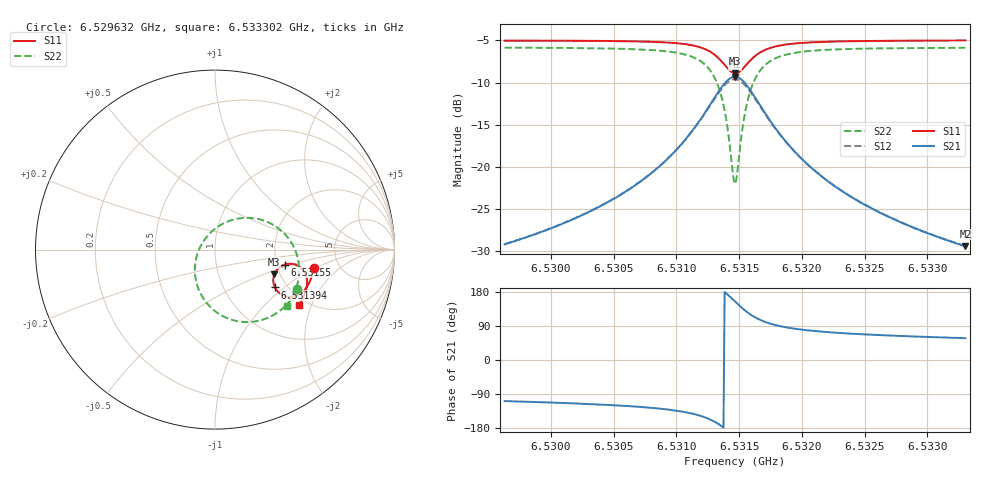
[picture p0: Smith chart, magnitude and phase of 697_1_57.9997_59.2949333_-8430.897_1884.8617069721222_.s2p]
#  HZ  S  RI  R  50.00
! Rohde & Schwarz Vector Network Analyzer
! Rohde-Schwarz,ZNB20-2Port,1311601062101988,3.16
! Created: UTC 3/21/2024, 1:21:36 AM
! freq[Hz]  re:S11  im:S11  re:S21  im:S21  re:S12  im:S12  re:S22  im:S22
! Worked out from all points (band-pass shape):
!   401 points, 6.529632 GHz to 6.533302 GHz, reference 50 ohm
!   highest |S21| = -9.32 dB at 6.531467 GHz (marker M1); lowest = -29.4 dB at 6.533302 GHz (marker M2)
!   |S21| within 3 dB of the highest: 6.531282 GHz to 6.53165 GHz (368.3 kHz wide, 0.00564 % of centre)
!   lowest |S11| = -8.9 dB at 6.531467 GHz (marker M3), VSWR 2.12, Z = 93.3 - j29.6 ohm
!   |S11| at or under -10 dB: nowhere
!   |S22| runs from -22.0 to -5.9 dB; largest |S21 - S12| = 0.015
!   S11 on the Smith chart (normalised r, x): 6.529632 GHz: 3.23, -0.97; 6.531394 GHz: 1.73, -0.86; 6.53155 GHz: 2.21, -0.44; 6.533302 GHz: 1.82, -1.64
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6.5296318e9  0.5507 -0.1028  -0.011 -0.0329  -0.0116 -0.0328  0.458 -0.2219
6.5302466e9  0.537 -0.1547  -0.0222 -0.0466  -0.0234 -0.0461  0.421 -0.2803
6.5305586e9  0.5249 -0.1846  -0.0346 -0.059  -0.0364 -0.0583  0.3878 -0.3177
6.5308614e9  0.5042 -0.2187  -0.0617 -0.0788  -0.0642 -0.077  0.327 -0.364
6.5310724e9  0.4733 -0.247  -0.1076 -0.0979  -0.1105 -0.0938  0.2355 -0.3983
6.5312376e9  0.42 -0.2633  -0.191 -0.099  -0.1927 -0.0904  0.0847 -0.3883
6.5313294e9  0.3692 -0.2494  -0.2684 -0.0584  -0.2656 -0.0466  -0.0408 -0.3039
6.5313661e9  0.3475 -0.2312  -0.2999 -0.0207  -0.2934 -0.00893  -0.0859 -0.2344
6.5313936e9  0.3341 -0.2109  -0.3176 0.0181  -0.3083 0.0287  -0.1073 -0.1667
6.5314486e9  0.3257 -0.1573  -0.3205 0.1146  -0.3071 0.1196  -0.0927 -0.00826
6.531467e9  0.3307 -0.1384  -0.3086 0.1471  -0.2951 0.1497  -0.0671 0.0423
6.5314853e9  0.3393 -0.121  -0.2907 0.1766  -0.2775 0.1769  -0.0322 0.0871
6.5315221e9  0.3651 -0.0945  -0.2415 0.2209  -0.2309 0.2177  0.0558 0.1503
6.5315496e9  0.3882 -0.0831  -0.1998 0.2392  -0.1915 0.2347  0.1277 0.1728
6.5315771e9  0.4112 -0.0788  -0.1596 0.2458  -0.1534 0.2411  0.1955 0.1766
6.5316138e9  0.4382 -0.0811  -0.113 0.2418  -0.109 0.2374  0.2725 0.1614
6.5317056e9  0.4819 -0.1052  -0.0386 0.2051  -0.037 0.2027  0.392 0.0831
6.5318432e9  0.5069 -0.1447  0.00498 0.1501  0.00601 0.149  0.4553 -0.0262
6.5320818e9  0.5127 -0.1917  0.0219 0.0953  0.0229 0.0949  0.4683 -0.1373
6.5323479e9  0.5067 -0.2265  0.0235 0.0656  0.0244 0.0653  0.4559 -0.2036
6.5326966e9  0.4947 -0.2604  0.0215 0.0455  0.0224 0.0451  0.4352 -0.2561
6.5333022e9  0.47 -0.3074  0.0182 0.0286  0.0187 0.0282  0.3999 -0.3137
